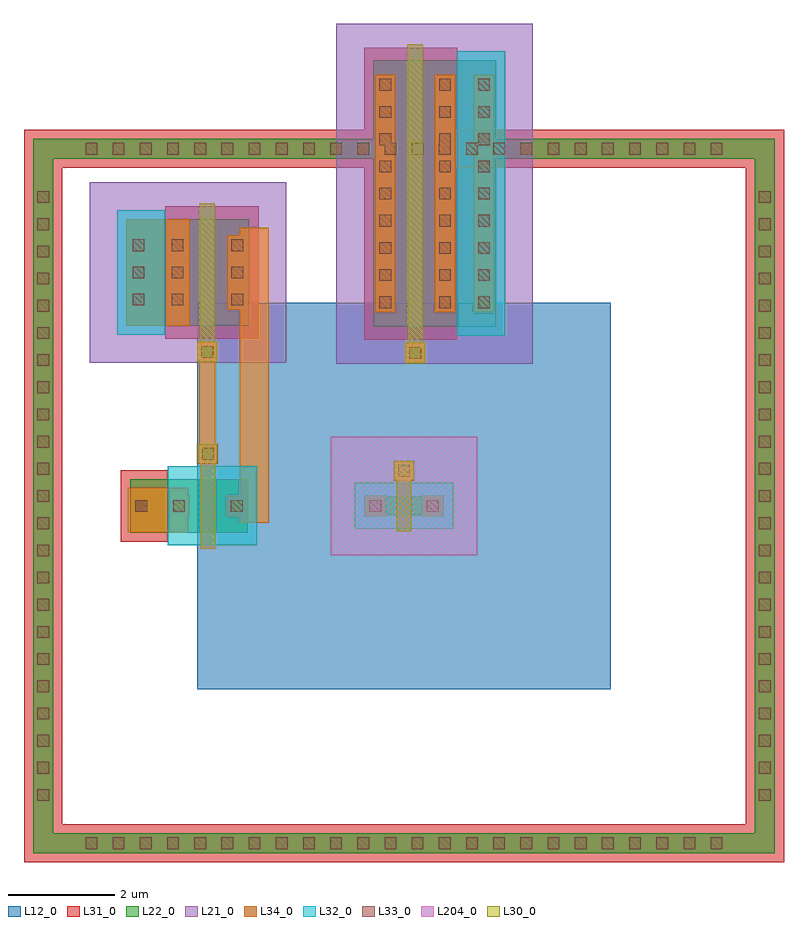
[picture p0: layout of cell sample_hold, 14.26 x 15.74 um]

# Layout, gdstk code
from math import pi, radians
import gdstk
lib = gdstk.Library(unit=1e-6, precision=5e-09)
def R(c, l, rs):  # rectangles x0, y0, x1, y1
    for r in rs: c.add(gdstk.rectangle(r[:2], r[2:], *l))
def A(c, l, x, y, w, h, nx, ny, dx, dy):  # array of equal rectangles
    R(c, l, [(x+i*dx, y+j*dy, x+i*dx+w, y+j*dy+h) for i in range(nx) for j in range(ny)])
def P(c, l, *ps):  # polygons
    for p in ps: c.add(gdstk.Polygon(p, *l))
L12_0 = (12, 0)
L21_0 = (21, 0)
L22_0 = (22, 0)
L30_0 = (30, 0)
L31_0 = (31, 0)
L32_0 = (32, 0)
L33_0 = (33, 0)
L34_0 = (34, 0)
L204_0 = (204, 0)

pfet = lib.new_cell('pfet')
R(pfet, L21_0, [(-1.15,-0.69,2.54,2.69)])
R(pfet, L22_0, [(-0.46,0,0,2), (0,0,0.66,2), (0.66,0,1.12,2), (1.12,0,1.85,2)])
R(pfet, L30_0, [(0.14,-0.68,0.52,-0.3), (0.19,-0.3,0.47,2.3)])
R(pfet, L31_0, [(-0.63,-0.24,1.12,2.24)])
R(pfet, L32_0, [(1.12,-0.17,2.02,2.17)])
A(pfet, L33_0, -0.34, 0.38, 0.22, 0.22, 1, 3, 0, 0.51)
A(pfet, L33_0, 0.78, 0.38, 0.22, 0.22, 1, 3, 0, 0.51)
A(pfet, L33_0, 1.51, 0.38, 0.22, 0.22, 1, 3, 0, 0.51)
R(pfet, L33_0, [(0.22,-0.6,0.44,-0.38)])
R(pfet, L34_0, [(0.14,-0.68,0.52,-0.3), (-0.42,0.3,-0.04,1.7), (0.7,0.3,1.08,1.7), (1.43,0.3,1.81,1.7)])

nfet = lib.new_cell('nfet')
R(nfet, L22_0, [(-0.42,0,0,1), (0,0,0.66,1), (0.66,0,1.08,1), (1.08,0,1.79,1)])
R(nfet, L30_0, [(0.19,-0.3,0.47,1.3), (0.15,1.3,0.51,1.66)])
R(nfet, L31_0, [(1.08,-0.17,1.96,1.17)])
R(nfet, L32_0, [(-0.59,-0.24,1.08,1.24)])
R(nfet, L33_0, [(-0.32,0.39,-0.1,0.61), (0.76,0.39,0.98,0.61), (1.47,0.39,1.69,0.61), (0.22,1.37,0.44,1.59)])
R(nfet, L34_0, [(-0.4,0.31,-0.02,0.69), (0.68,0.31,1.06,0.69), (1.39,0.31,1.77,0.69), (0.14,1.29,0.52,1.67)])

inv_sh = lib.new_cell('inv_sh')
R(inv_sh, L34_0, [(0.29,-1.01,1.42,-0.18), (-1.22,-0.84,-0.68,4.7), (0.26,2.86,1.45,4.86)])
inv_sh.add(gdstk.FlexPath([(-0.07,2.37),(-0.07,0.43),(-0.07,0.43)], 0.3, ends="flush", simple_path=True, layer=34, datatype=0))  # L34_0
inv_sh.add(gdstk.Reference(pfet, (-0.4,2.86)))
inv_sh.add(gdstk.Reference(nfet, (-0.41,-1.02)))
inv_sh.add(gdstk.Label('vdd', (0.855,3.64), layer=34, texttype=10))
inv_sh.add(gdstk.Label('vss', (0.86,-0.56), layer=34, texttype=10))
inv_sh.add(gdstk.Label('vo', (-0.99,1.28), layer=34, texttype=10))
inv_sh.add(gdstk.Label('vi', (-0.07,1.39), layer=34, texttype=10))

pfet_1 = lib.new_cell('pfet$1')
R(pfet_1, L21_0, [(-1.15,-0.69,2.54,5.69)])
R(pfet_1, L22_0, [(-0.46,0,0,5), (0,0,0.66,5), (0.66,0,1.12,5), (1.12,0,1.85,5)])
R(pfet_1, L30_0, [(0.14,-0.68,0.52,-0.3), (0.19,-0.3,0.47,5.3)])
R(pfet_1, L31_0, [(-0.63,-0.24,1.12,5.24)])
R(pfet_1, L32_0, [(1.12,-0.17,2.02,5.17)])
A(pfet_1, L33_0, -0.34, 0.35, 0.22, 0.22, 1, 9, 0, 0.51)
A(pfet_1, L33_0, 0.78, 0.35, 0.22, 0.22, 1, 9, 0, 0.51)
A(pfet_1, L33_0, 1.51, 0.35, 0.22, 0.22, 1, 9, 0, 0.51)
R(pfet_1, L33_0, [(0.22,-0.6,0.44,-0.38)])
R(pfet_1, L34_0, [(0.14,-0.68,0.52,-0.3), (-0.42,0.27,-0.04,4.73), (0.7,0.27,1.08,4.73), (1.43,0.27,1.81,4.73)])

nfet_2 = lib.new_cell('nfet$2')
R(nfet_2, L12_0, [(-3.55,-3.26,4.21,3.99)])
R(nfet_2, L22_0, [(-0.42,-0.01,0,0.37), (0.66,-0.01,1.08,0.37), (0,0,0.66,0.36)])
P(nfet_2, L22_0, [(-6.63,-6.34),(-6.63,6.69),(-6.25,6.69),(-6.25,-5.96),(6.91,-5.96),(6.91,6.69),(-6.63,6.69),(-6.63,7.07),(7.29,7.07),(7.29,-6.34)])
R(nfet_2, L30_0, [(0.19,-0.3,0.47,0.66), (0.15,0.66,0.51,1.02)])
P(nfet_2, L31_0, [(-6.8,-6.51),(-6.8,6.52),(-6.08,6.52),(-6.08,-5.79),(6.74,-5.79),(6.74,6.52),(-6.8,6.52),(-6.8,7.24),(7.46,7.24),(7.46,-6.51)])
R(nfet_2, L32_0, [(-0.59,-0.25,1.25,0.61)])
A(nfet_2, L33_0, -5.645, -6.26, 0.22, 0.22, 24, 2, 0.51, 13.03)
A(nfet_2, L33_0, -6.55, -5.355, 0.22, 0.22, 1, 23, 0, 0.51)
A(nfet_2, L33_0, 6.99, -5.355, 0.22, 0.22, 1, 23, 0, 0.51)
R(nfet_2, L33_0, [(-0.32,0.07,-0.1,0.29), (0.76,0.07,0.98,0.29), (0.22,0.73,0.44,0.95)])
R(nfet_2, L34_0, [(-0.4,-0.01,-0.02,0.37), (0.68,-0.01,1.06,0.37), (0.14,0.65,0.52,1.03)])
R(nfet_2, L204_0, [(-1.04,-0.75,1.7,1.48)])

sample_hold = lib.new_cell('sample_hold')
sample_hold.add(gdstk.Reference(inv_sh, (1.6,0.09), rotation=pi, x_reflection=True))
sample_hold.add(gdstk.Reference(pfet_1, (5.24,2.93)))
sample_hold.add(gdstk.Reference(nfet_2, (5.03,-0.61)))

lib.write_gds('sample_hold.gds')
